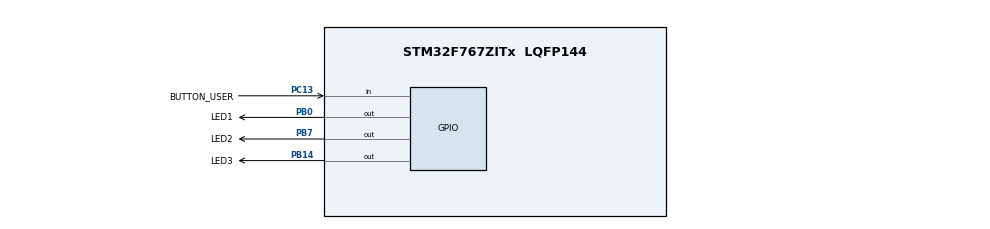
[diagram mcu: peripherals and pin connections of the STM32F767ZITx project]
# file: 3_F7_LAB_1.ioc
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Mcu.Family=STM32F7
Mcu.Name=STM32F767ZITx
Mcu.Package=LQFP144
NVIC.PriorityGroup=NVIC_PRIORITYGROUP_4
PA13.Mode=Serial_Wire
PA13.Signal=SYS_JTMS-SWDIO
PA14.Mode=Serial_Wire
PA14.Signal=SYS_JTCK-SWCLK
PB0.GPIO_Label=LED1
PB0.GPIO_Speed=GPIO_SPEED_FREQ_LOW
PB0.Signal=GPIO_Output
PB14.GPIO_Label=LED3
PB14.GPIO_Speed=GPIO_SPEED_FREQ_LOW
PB14.Signal=GPIO_Output
PB7.GPIO_FM7=__NULL
PB7.GPIO_Label=LED2
PB7.GPIO_Speed=GPIO_SPEED_FREQ_LOW
PB7.Signal=GPIO_Output
PC13.GPIO_Label=BUTTON_USER
PC13.Signal=GPIO_Input
ProjectManager.HeapSize=0x200
ProjectManager.StackSize=0x400
ProjectManager.TargetToolchain=STM32CubeIDE
RCC.HSE_VALUE=25000000
RCC.HSI_VALUE=16000000
RCC.LSE_VALUE=32768
RCC.USBFreq_Value=96000000
RCC.VCOOutputFreq_Value=192000000
board=custom

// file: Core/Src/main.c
/* USER CODE BEGIN Header */
/**
  ******************************************************************************
  * @file           : main.c
  * @brief          : Main program body
  ******************************************************************************
  * @attention
  *
  * Copyright (c) 2024 STMicroelectronics.
  * All rights reserved.
  *
  * This software is licensed under terms that can be found in the LICENSE file
  * in the root directory of this software component.
  * If no LICENSE file comes with this software, it is provided AS-IS.
  *
  ******************************************************************************
  */
/* USER CODE END Header */
#include "main.h"

/* USER CODE BEGIN PTD */
typedef enum
{
	LED1 = 0,
	LED_GREEN = LED1,
	LED2 = 1,
	LED_BLUE = LED2,
	LED3 = 2,
	LED_RED = LED3,
} Led_TypeDef;

typedef enum
{
	BUTTON_USER = 0,
	BUTTON_KEY = BUTTON_USER
} Button_TypeDef;

typedef enum
{
	UP=0,
	DOWN
} Direction_TypeDef;
/* USER CODE END PTD */

/* USER CODE BEGIN PD */
#define LEDn 3
#define BUTTONn 1
#define STD_DELAY 200
#define SHORT_DELAY 50
#define LONG_DELAY 1000
/* USER CODE END PD */

/* USER CODE BEGIN PV */
GPIO_TypeDef* GPIO_PORT[LEDn] = {LED1_GPIO_Port, LED2_GPIO_Port, LED3_GPIO_Port};
uint16_t GPIO_PIN[LEDn] = {LED1_Pin, LED2_Pin, LED3_Pin};

GPIO_TypeDef* BUTTON_PORT[BUTTONn] = {BUTTON_USER_GPIO_Port};
uint16_t BUTTON_PIN[BUTTONn] = {BUTTON_USER_Pin};
/* USER CODE END PV */

void SystemClock_Config(void);
static void MX_GPIO_Init(void);
/* USER CODE BEGIN PFP */
void LED_On(Led_TypeDef Led);
void LED_Off(Led_TypeDef Led);
void LED_Toggle(Led_TypeDef Led);
GPIO_PinState PB_GetState(Button_TypeDef Button);
/* USER CODE END PFP */

int main(void)
{

  /* MCU Configuration--------------------------------------------------------*/

  /* Reset of all peripherals, Initializes the Flash interface and the Systick. */
  HAL_Init();

  /* Configure the system clock */
  SystemClock_Config();

  /* Initialize all configured peripherals */
  MX_GPIO_Init();
  /* USER CODE BEGIN 2 */
  Led_TypeDef leds[LEDn] = {LED1, LED2, LED3};
  int8_t i = 0;
  Direction_TypeDef dir = UP;
  /* USER CODE END 2 */

  /* Infinite loop */
  /* USER CODE BEGIN WHILE */
  while (1)
  {
	  LED_On(leds[i]);
	  HAL_Delay(STD_DELAY);
	  LED_Off(leds[i]);
	  HAL_Delay(STD_DELAY);

	  if(PB_GetState(BUTTON_USER)){
		  if(dir == UP )
		  {
			  dir = DOWN;
		  }
		  else
		  {
			  dir = UP;
		  }
	  }

	  if(dir == UP )
	  {
		  i++;
		  if(i >= LEDn)
		  {
			  i = 0;
		  }
	  }
	  else
	  {
		  i--;
		  if(i < 0 )
		  {
			  i = LEDn - 1;
		  }
	  }
    /* USER CODE END WHILE */

  }
}

void SystemClock_Config(void)
{
  RCC_OscInitTypeDef RCC_OscInitStruct = {0};
  RCC_ClkInitTypeDef RCC_ClkInitStruct = {0};

  /** Configure the main internal regulator output voltage
  */
  __HAL_RCC_PWR_CLK_ENABLE();
  __HAL_PWR_VOLTAGESCALING_CONFIG(PWR_REGULATOR_VOLTAGE_SCALE3);

  /** Initializes the RCC Oscillators according to the specified parameters
  * in the RCC_OscInitTypeDef structure.
  */
  RCC_OscInitStruct.OscillatorType = RCC_OSCILLATORTYPE_HSI;
  RCC_OscInitStruct.HSIState = RCC_HSI_ON;
  RCC_OscInitStruct.HSICalibrationValue = RCC_HSICALIBRATION_DEFAULT;
  RCC_OscInitStruct.PLL.PLLState = RCC_PLL_NONE;
  if (HAL_RCC_OscConfig(&RCC_OscInitStruct) != HAL_OK)
  {
    Error_Handler();
  }

  /** Initializes the CPU, AHB and APB buses clocks
  */
  RCC_ClkInitStruct.ClockType = RCC_CLOCKTYPE_HCLK|RCC_CLOCKTYPE_SYSCLK
                              |RCC_CLOCKTYPE_PCLK1|RCC_CLOCKTYPE_PCLK2;
  RCC_ClkInitStruct.SYSCLKSource = RCC_SYSCLKSOURCE_HSI;
  RCC_ClkInitStruct.AHBCLKDivider = RCC_SYSCLK_DIV1;
  RCC_ClkInitStruct.APB1CLKDivider = RCC_HCLK_DIV1;
  RCC_ClkInitStruct.APB2CLKDivider = RCC_HCLK_DIV1;

  if (HAL_RCC_ClockConfig(&RCC_ClkInitStruct, FLASH_LATENCY_0) != HAL_OK)
  {
    Error_Handler();
  }
}

static void MX_GPIO_Init(void)
{
  GPIO_InitTypeDef GPIO_InitStruct = {0};

  /* GPIO Ports Clock Enable */
  __HAL_RCC_GPIOC_CLK_ENABLE();
  __HAL_RCC_GPIOB_CLK_ENABLE();
  __HAL_RCC_GPIOA_CLK_ENABLE();

  /*Configure GPIO pin Output Level */
  HAL_GPIO_WritePin(GPIOB, LED1_Pin|LED3_Pin|LED2_Pin, GPIO_PIN_RESET);

  /*Configure GPIO pin : BUTTON_USER_Pin */
  GPIO_InitStruct.Pin = BUTTON_USER_Pin;
  GPIO_InitStruct.Mode = GPIO_MODE_INPUT;
  GPIO_InitStruct.Pull = GPIO_NOPULL;
  HAL_GPIO_Init(BUTTON_USER_GPIO_Port, &GPIO_InitStruct);

  /*Configure GPIO pins : LED1_Pin LED3_Pin LED2_Pin */
  GPIO_InitStruct.Pin = LED1_Pin|LED3_Pin|LED2_Pin;
  GPIO_InitStruct.Mode = GPIO_MODE_OUTPUT_PP;
  GPIO_InitStruct.Pull = GPIO_NOPULL;
  GPIO_InitStruct.Speed = GPIO_SPEED_FREQ_LOW;
  HAL_GPIO_Init(GPIOB, &GPIO_InitStruct);

}

/* USER CODE BEGIN 4 */
void LED_On(Led_TypeDef Led)
{
	HAL_GPIO_WritePin(GPIO_PORT[Led], GPIO_PIN[Led], GPIO_PIN_SET);
}

void LED_Off(Led_TypeDef Led)
{
	HAL_GPIO_WritePin(GPIO_PORT[Led], GPIO_PIN[Led], GPIO_PIN_RESET);
}

void LED_Toggle(Led_TypeDef Led)
{
	HAL_GPIO_TogglePin(GPIO_PORT[Led], GPIO_PIN[Led]);
}

GPIO_PinState PB_GetState(Button_TypeDef Button)
{
	return HAL_GPIO_ReadPin(BUTTON_PORT[Button], BUTTON_PIN[Button]);
}

/* USER CODE END 4 */

void Error_Handler(void)
{
  /* USER CODE BEGIN Error_Handler_Debug */
  /* User can add his own implementation to report the HAL error return state */
	LED_On(LED2);
  __disable_irq();
  while (1)
  {
  }
  /* USER CODE END Error_Handler_Debug */
}
